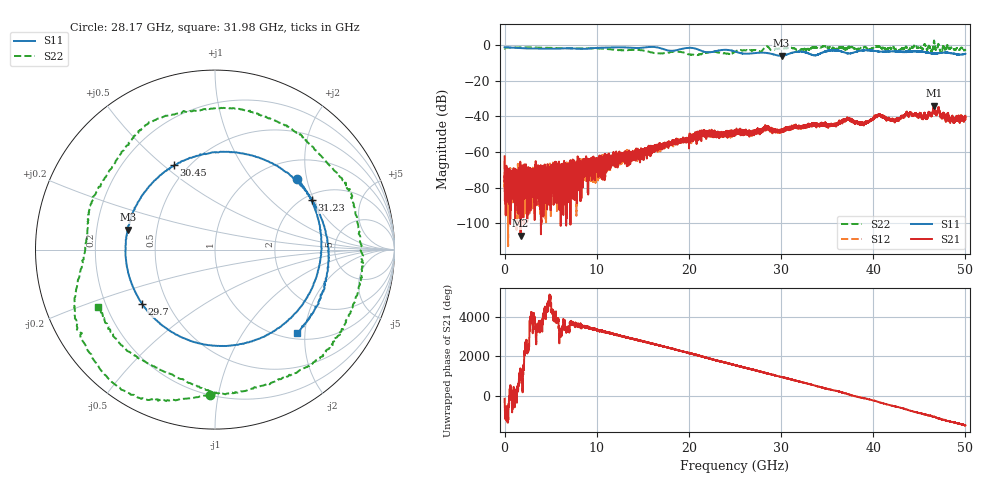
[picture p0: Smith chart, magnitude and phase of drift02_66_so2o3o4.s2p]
!Created with skrf (http://scikit-rf.org).
# Hz S RI R 50.0
!freq ReS11 ImS11 ReS21 ImS21 ReS12 ImS12 ReS22 ImS22
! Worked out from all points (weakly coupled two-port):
!   10001 points, 300 kHz to 50 GHz, reference 50 ohm
!   highest |S21| = -34.04 dB at 46.61 GHz (marker M1); lowest = -107.0 dB at 1.735 GHz (marker M2)
!   lowest |S11| = -6.1 dB at 30.06 GHz (marker M3), VSWR 2.98, Z = 17 + j5.03 ohm
!   |S11| at or under -10 dB: nowhere
!   |S22| runs from -5.7 to 2.5 dB; largest |S21 - S12| = 0.0033
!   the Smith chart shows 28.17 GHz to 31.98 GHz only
!   S11 on the Smith chart (normalised r, x): 28.17 GHz: 1.41, +1.75; 29.7 GHz: 0.36, -0.29; 30.45 GHz: 0.42, +0.54; 31.23 GHz: 2.19, +1.92; 31.98 GHz: 1.13, -1.81
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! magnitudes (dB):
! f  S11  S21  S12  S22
! 300 kHz  -1.3  -62.5  -65.3  -2.1
! 255.3 MHz  -1.4  -72.5  -80.5  -1.4
! 1.735 GHz  -1.8  -107.0  -70.0  -1.4
! 6.125 GHz  -2.0  -72.4  -68.4  -1.7
! 8.335 GHz  -2.2  -86.0  -73.1  -1.9
! 16.67 GHz  -1.5  -58.5  -59.2  -4.7
! 21.61 GHz  -3.7  -49.4  -48.4  -4.7
! 25 GHz  -3.7  -50.2  -48.2  -3.9
! 28.17 GHz  -4.4  -46.7  -47.3  -1.8
! 29.7 GHz  -5.9  -48.7  -48.9  -2.1
! 30.06 GHz  -6.1  -47.8  -48.2  -2.0
! 30.45 GHz  -5.6  -46.8  -46.6  -1.8
! 31.23 GHz  -4.3  -45.9  -45.8  -1.8
! 31.98 GHz  -3.8  -45.9  -46.1  -2.8
! 33.34 GHz  -5.5  -45.2  -45.2  -1.6
! 37.27 GHz  -4.7  -41.5  -41.7  -1.5
! 38.84 GHz  -3.1  -43.5  -43.9  -1.2
! 40.63 GHz  -3.7  -39.0  -39.5  -1.0
! 41.67 GHz  -3.6  -41.1  -41.3  -1.8
! 46.61 GHz  -4.8  -34.0  -34.8  2.2
! 48.11 GHz  -4.4  -38.9  -39.9  -0.5
! 50 GHz  -4.9  -39.7  -40.0  -2.7
